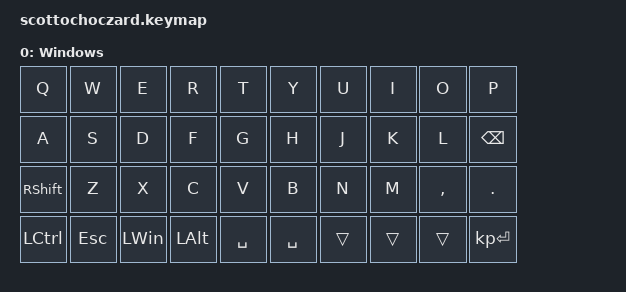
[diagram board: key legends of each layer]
#include <behaviors.dtsi>
#include <dt-bindings/zmk/keys.h>
#include <dt-bindings/zmk/bt.h>

#define WINDOWS 1

/ {
    keymap {
        compatible = "zmk,keymap";

        windows_default_layer {
            display-name = "Windows";
            bindings = <
                &kp Q               &kp W           &kp E       &kp R           &kp T       &kp Y       &kp U       &kp I       &kp O           &kp P       
                &kp A               &kp S           &kp D       &kp F           &kp G       &kp H       &kp J       &kp K       &kp L           &kp BSPC
                &kp RIGHT_SHIFT     &kp Z           &kp X       &kp C           &kp V       &kp B       &kp N       &kp M       &kp COMMA       &kp PERIOD       
                &kp LCTRL           &kp ESCAPE      &kp LWIN    &kp LEFT_ALT    &kp SPACE   &kp SPACE   &trans      &trans      &trans          &kp KP_ENTER   
            >;
        };
    };
};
